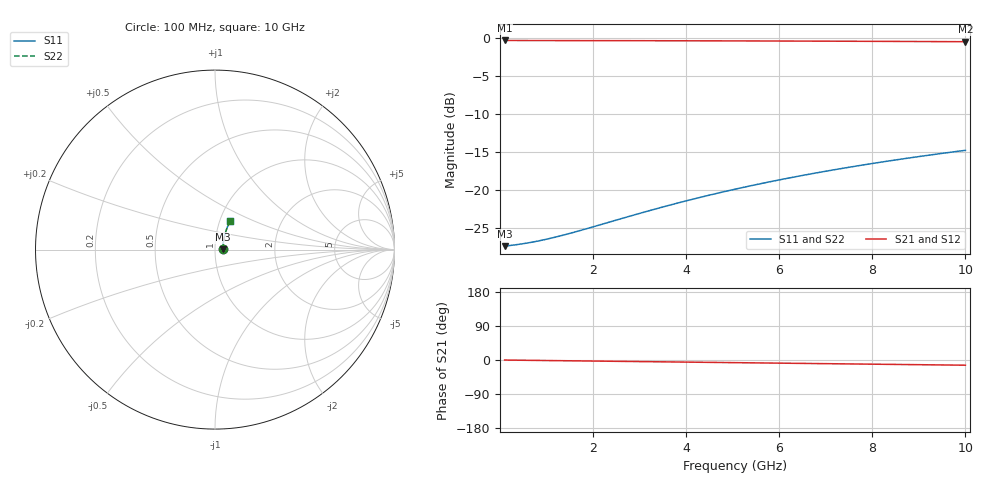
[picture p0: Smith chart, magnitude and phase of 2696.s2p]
# Hz S RI R 50.00
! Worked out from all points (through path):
!   100 points, 100 MHz to 10 GHz, reference 50 ohm
!   highest |S21| = -0.38 dB at 100 MHz (marker M1); lowest = -0.5 dB at 10 GHz (marker M2)
!   group delay of S21, straight-line fit = 3.82 ps
!   lowest |S11| = -27.5 dB at 100 MHz (marker M3), VSWR 1.09, Z = 54.4 + j0.185 ohm
!   |S11| at or under -10 dB: start of sweep to end of sweep
!   |S22| runs from -27.5 to -14.8 dB; largest |S21 - S12| = 0
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1e8  0.0424 0.00169  0.9576 -0.00232  0.9576 -0.00232  0.0424 0.00169
5e8  0.0432 0.00845  0.9568 -0.0116  0.9568 -0.0116  0.0432 0.00845
7e8  0.0435 0.0118  0.9564 -0.0162  0.9564 -0.0162  0.0435 0.0118
9e8  0.0438 0.0152  0.9561 -0.0208  0.9561 -0.0208  0.0438 0.0152
1.1e9  0.0442 0.0186  0.9558 -0.0255  0.9558 -0.0255  0.0442 0.0186
1.3e9  0.0445 0.0219  0.9555 -0.0301  0.9555 -0.0301  0.0445 0.0219
1.5e9  0.0448 0.0253  0.9551 -0.0347  0.9551 -0.0347  0.0448 0.0253
1.8e9  0.0454 0.0303  0.9545 -0.0416  0.9545 -0.0416  0.0454 0.0303
2.8e9  0.0477 0.047  0.9522 -0.0646  0.9522 -0.0646  0.0477 0.047
3.4e9  0.0494 0.0569  0.9504 -0.0783  0.9504 -0.0783  0.0494 0.0569
3.8e9  0.0506 0.0635  0.949 -0.0874  0.949 -0.0874  0.0506 0.0635
4.2e9  0.052 0.0701  0.9476 -0.0965  0.9476 -0.0965  0.052 0.0701
4.6e9  0.0535 0.0766  0.946 -0.1055  0.946 -0.1055  0.0535 0.0766
5.1e9  0.0556 0.0847  0.9438 -0.1168  0.9438 -0.1168  0.0556 0.0847
5.5e9  0.0574 0.0911  0.942 -0.1258  0.942 -0.1258  0.0574 0.0911
5.9e9  0.0593 0.0975  0.94 -0.1347  0.94 -0.1347  0.0593 0.0975
6.3e9  0.0613 0.1039  0.9379 -0.1435  0.9379 -0.1435  0.0613 0.1039
6.7e9  0.0634 0.1102  0.9356 -0.1524  0.9356 -0.1524  0.0634 0.1102
7.5e9  0.068 0.1226  0.9308 -0.1699  0.9308 -0.1699  0.068 0.1226
8.4e9  0.0737 0.1363  0.9248 -0.1893  0.9248 -0.1893  0.0737 0.1363
9.2e9  0.0793 0.1482  0.919 -0.2063  0.919 -0.2063  0.0793 0.1482
1e10  0.0852 0.1599  0.9127 -0.223  0.9127 -0.223  0.0852 0.1599
